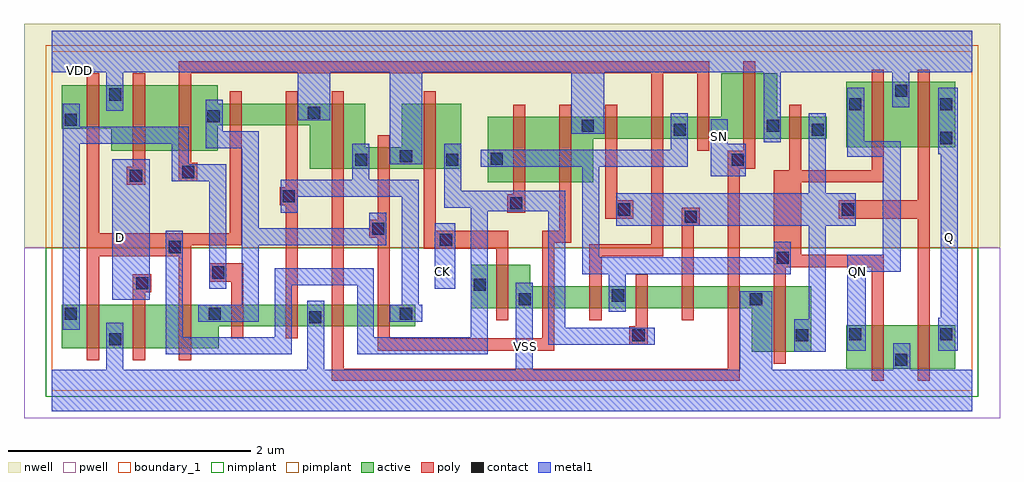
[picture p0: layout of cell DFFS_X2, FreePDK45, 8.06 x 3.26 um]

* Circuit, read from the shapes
.subckt DFFS_X2 CK D Q QN SN VDD VSS
M1 VSS n1 n2 VSUBS nfet w=0.36u l=0.1u
M2 n3 D VSS VSUBS nfet w=0.36u l=0.1u
M3 n4 n1 n3 VSUBS nfet w=0.36u l=0.1u
M4 n5 n2 n4 VSUBS nfet w=0.18u l=0.1u
M5 VSS n6 n5 VSUBS nfet w=0.18u l=0.1u
M6 n7 SN VSS VSUBS nfet w=0.18u l=0.1u
M7 n6 n4 n7 VSUBS nfet w=0.18u l=0.1u
M8 VSS CK n1 VSUBS nfet w=0.36u l=0.1u
M9 n8 n4 VSS VSUBS nfet w=0.18u l=0.1u
M10 n9 n2 n8 VSUBS nfet w=0.18u l=0.1u
M11 n10 n1 n9 VSUBS nfet w=0.18u l=0.1u
M12 n11 n12 n10 VSUBS nfet w=0.18u l=0.1u
M13 VSS SN n11 VSUBS nfet w=0.18u l=0.1u
M14 n12 n9 VSS VSUBS nfet w=0.54u l=0.1u
M15 VSS n9 QN VSUBS nfet w=0.36u l=0.1u
M16 Q n12 VSS VSUBS nfet w=0.36u l=0.1u
M17 VDD n1 n2 n13 pfet w=0.36u l=0.1u
M18 n14 D VDD n13 pfet w=0.54u l=0.1u
M19 n4 n2 n14 n13 pfet w=0.54u l=0.1u
M20 n15 n1 n4 n13 pfet w=0.18u l=0.1u
M21 VDD n6 n15 n13 pfet w=0.18u l=0.1u
M22 n6 SN VDD n13 pfet w=0.54u l=0.1u
M23 VDD n4 n6 n13 pfet w=0.18u l=0.1u
M24 n1 CK VDD n13 pfet w=0.54u l=0.1u
M25 n16 n1 n9 n13 pfet w=0.54u l=0.1u
M26 VDD n4 n16 n13 pfet w=0.54u l=0.1u
M27 n17 n12 VDD n13 pfet w=0.18u l=0.1u
M28 n9 n2 n17 n13 pfet w=0.18u l=0.1u
M29 n18 n2 n9 n13 pfet w=0.18u l=0.1u
M30 VDD SN n18 n13 pfet w=0.54u l=0.1u
M31 n12 n9 VDD n13 pfet w=0.18u l=0.1u
M32 VDD n9 QN n13 pfet w=0.54u l=0.1u
M33 Q n12 VDD n13 pfet w=0.54u l=0.1u
.ends

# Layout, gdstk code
import gdstk
lib = gdstk.Library(unit=1e-6, precision=1e-09)
def R(c, l, rs):  # rectangles x0, y0, x1, y1
    for r in rs: c.add(gdstk.rectangle(r[:2], r[2:], *l))
def P(c, l, *ps):  # polygons
    for p in ps: c.add(gdstk.Polygon(p, *l))
active = (1, 0)
pwell = (2, 0)
nwell = (3, 0)
nimplant = (4, 0)
pimplant = (5, 0)
poly = (9, 0)
contact = (10, 0)
metal1 = (11, 0)
boundary_1 = (235, 1)

dffs_x2 = lib.new_cell('DFFS_X2')
R(dffs_x2, active, [(6.56,0.18,7.46,0.54), (6.56,2.01,7.46,2.55)])
P(dffs_x2, active, [(3.6,1.72),(4.47,1.72),(4.47,2.08),(6.4,2.08),(6.4,2.26),(5.99,2.26),(5.99,2.62),(5.53,2.62),(5.53,2.26),(3.6,2.26)],
  [(3.46,0.68),(5.78,0.68),(5.78,0.32),(6.27,0.32),(6.27,0.86),(3.95,0.86),(3.95,1.04),(3.46,1.04)],
  [(0.08,2.16),(0.49,2.16),(0.49,1.98),(1.37,1.98),(1.37,2.19),(2.13,2.19),(2.13,1.83),(3.38,1.83),(3.38,2.37),(2.89,2.37),(2.89,2.01),(2.59,2.01),(2.59,2.37),(1.37,2.37),(1.37,2.52),(0.08,2.52)],
  [(0.08,0.35),(1.38,0.35),(1.38,0.53),(3,0.53),(3,0.71),(0.08,0.71)])
R(dffs_x2, pwell, [(-0.23,-0.23,7.83,1.18)])
R(dffs_x2, nwell, [(-0.23,1.18,7.83,3.03)])
R(dffs_x2, nimplant, [(-0.05,-0.05,7.65,1.18)])
R(dffs_x2, pimplant, [(-0.05,1.18,7.65,2.85)])
P(dffs_x2, poly, [(6.5,1.42),(7.15,1.42),(7.15,0.08),(7.25,0.08),(7.25,2.65),(7.15,2.65),(7.15,1.57),(6.5,1.57)],
  [(6.19,1.72),(6.87,1.72),(6.87,2.65),(6.77,2.65),(6.77,1.82),(6.19,1.82),(6.19,2.36),(6.09,2.36),(6.09,1.82),(5.96,1.82),(5.96,0.22),(6.06,0.22),(6.06,1.02),(6.77,1.02),(6.77,0.08),(6.87,0.08),(6.87,1.12),(6.19,1.12)],
  [(2.31,0.08),(5.68,0.08),(5.68,1.83),(5.81,1.83),(5.81,2.72),(5.71,2.72),(5.71,1.98),(5.58,1.98),(5.58,0.18),(2.41,0.18),(2.41,2.47),(2.31,2.47)],
  [(1.15,2.62),(4.95,2.62),(4.95,1.21),(4.44,1.21),(4.44,0.58),(4.54,0.58),(4.54,1.11),(5.05,1.11),(5.05,2.62),(5.33,2.62),(5.33,1.98),(5.43,1.98),(5.43,2.72),(1.05,2.72),(1.05,1.73),(1.2,1.73),(1.2,1.88),(1.15,1.88)],
  [(5.2,0.58),(5.3,0.58),(5.3,1.36),(5.35,1.36),(5.35,1.51),(5.2,1.51)],
  [(4.77,0.38),(4.92,0.38),(4.92,0.96),(4.82,0.96),(4.82,0.53),(4.77,0.53)],
  [(4.57,1.42),(4.8,1.42),(4.8,1.57),(4.67,1.57),(4.67,2.36),(4.57,2.36)],
  [(2.62,1.26),(2.69,1.26),(2.69,0.33),(4.15,0.33),(4.15,1.22),(4.29,1.22),(4.29,2.36),(4.19,2.36),(4.19,1.32),(4.05,1.32),(4.05,0.43),(2.79,0.43),(2.79,2.11),(2.69,2.11),(2.69,1.41),(2.62,1.41)],
  [(3.76,1.47),(3.91,1.47),(3.91,2.36),(3.81,2.36),(3.81,1.62),(3.76,1.62)],
  [(3.07,1.17),(3.67,1.17),(3.67,0.58),(3.77,0.58),(3.77,1.32),(3.17,1.32),(3.17,2.47),(3.07,2.47)],
  [(1.88,1.53),(1.93,1.53),(1.93,0.43),(2.03,0.43),(2.03,2.47),(1.93,2.47),(1.93,1.68),(1.88,1.68)],
  [(1.3,0.9),(1.48,0.9),(1.48,0.43),(1.58,0.43),(1.58,1.05),(1.3,1.05)],
  [(0.29,0.25),(0.39,0.25),(0.39,1.11),(1.05,1.11),(1.05,0.25),(1.15,0.25),(1.15,1.2),(1.57,1.2),(1.57,2.47),(1.47,2.47),(1.47,1.3),(0.39,1.3),(0.39,2.62),(0.29,2.62)],
  [(0.67,0.25),(0.77,0.25),(0.77,0.81),(0.82,0.81),(0.82,0.96),(0.67,0.96)],
  [(0.62,1.7),(0.77,1.7),(0.77,2.62),(0.67,2.62),(0.67,1.85),(0.62,1.85)])
R(dffs_x2, contact, [(6.965,0.205,7.065,0.305), (0.475,0.375,0.575,0.475), (4.795,0.405,4.895,0.505), (6.145,0.405,6.245,0.505), (6.585,0.415,6.685,0.515), (7.335,0.415,7.435,0.515), (2.125,0.555,2.225,0.655), (0.105,0.585,0.205,0.685), (1.295,0.585,1.395,0.685), (2.875,0.585,2.975,0.685), (3.855,0.705,3.955,0.805), (5.765,0.705,5.865,0.805), (4.625,0.735,4.725,0.835), (3.485,0.825,3.585,0.925), (0.695,0.835,0.795,0.935), (1.325,0.925,1.425,1.025), (5.985,1.045,6.085,1.145), (0.965,1.135,1.065,1.235), (3.205,1.195,3.305,1.295), (2.645,1.285,2.745,1.385), (5.225,1.385,5.325,1.485), (4.675,1.445,4.775,1.545), (6.525,1.445,6.625,1.545), (3.785,1.495,3.885,1.595), (1.905,1.555,2.005,1.655), (0.645,1.725,0.745,1.825), (1.075,1.755,1.175,1.855), (2.505,1.855,2.605,1.955), (3.255,1.855,3.355,1.955), (5.615,1.855,5.715,1.955), (3.625,1.865,3.725,1.965), (2.875,1.885,2.975,1.985), (7.335,2.035,7.435,2.135), (5.135,2.105,5.235,2.205), (6.275,2.105,6.375,2.205), (4.375,2.135,4.475,2.235), (5.905,2.135,6.005,2.235), (0.105,2.185,0.205,2.285), (1.285,2.215,1.385,2.315), (2.115,2.245,2.215,2.345), (6.585,2.315,6.685,2.415), (7.335,2.315,7.435,2.415), (0.475,2.395,0.575,2.495), (6.965,2.425,7.065,2.525)])
R(dffs_x2, metal1, [(0.5,0.75,0.81,1.91), (0.5,0.75,0.81,1.91), (3.16,0.84,3.33,1.38), (3.16,0.84,3.33,1.38)])
P(dffs_x2, metal1, [(0,-0.17),(7.6,-0.17),(7.6,0.17),(7.09,0.17),(7.09,0.39),(6.95,0.39),(6.95,0.17),(5.95,0.17),(5.95,0.82),(5.68,0.82),(5.68,0.17),(3.97,0.17),(3.97,0.89),(3.83,0.89),(3.83,0.17),(2.25,0.17),(2.25,0.74),(2.11,0.74),(2.11,0.17),(0.59,0.17),(0.59,0.56),(0.45,0.56),(0.45,0.17),(0,0.17)],
  [(7.32,1.95),(7.34,1.95),(7.34,0.6),(7.32,0.6),(7.32,0.33),(7.48,0.33),(7.48,2.5),(7.32,2.5)],
  [(0,2.63),(0.45,2.63),(0.45,2.31),(0.59,2.31),(0.59,2.63),(2.03,2.63),(2.03,2.23),(2.3,2.23),(2.3,2.63),(2.79,2.63),(2.79,1.87),(3.06,1.87),(3.06,2.63),(4.29,2.63),(4.29,2.12),(4.56,2.12),(4.56,2.63),(5.88,2.63),(5.88,2.05),(6.02,2.05),(6.02,2.63),(6.94,2.63),(6.94,2.34),(7.08,2.34),(7.08,2.63),(7.6,2.63),(7.6,2.97),(0,2.97)],
  [(5.44,1.77),(5.73,1.77),(5.73,2.04),(5.58,2.04),(5.58,2.24),(5.44,2.24)],
  [(6.57,1.93),(6.86,1.93),(6.86,1.12),(6.57,1.12),(6.57,0.33),(6.72,0.33),(6.72,0.98),(7.01,0.98),(7.01,2.06),(6.71,2.06),(6.71,2.5),(6.57,2.5)],
  [(0,2.63),(0.45,2.63),(0.45,2.31),(0.59,2.31),(0.59,2.63),(2.03,2.63),(2.03,2.23),(2.3,2.23),(2.3,2.63),(2.79,2.63),(2.79,1.87),(3.06,1.87),(3.06,2.63),(4.29,2.63),(4.29,2.12),(4.56,2.12),(4.56,2.63),(5.88,2.63),(5.88,2.05),(6.02,2.05),(6.02,2.63),(6.94,2.63),(6.94,2.34),(7.08,2.34),(7.08,2.63),(7.6,2.63),(7.6,2.97),(0,2.97)],
  [(0,-0.17),(7.6,-0.17),(7.6,0.17),(7.09,0.17),(7.09,0.39),(6.95,0.39),(6.95,0.17),(5.95,0.17),(5.95,0.82),(5.68,0.82),(5.68,0.17),(3.97,0.17),(3.97,0.89),(3.83,0.89),(3.83,0.17),(2.25,0.17),(2.25,0.74),(2.11,0.74),(2.11,0.17),(0.59,0.17),(0.59,0.56),(0.45,0.56),(0.45,0.17),(0,0.17)],
  [(7.32,1.95),(7.34,1.95),(7.34,0.6),(7.32,0.6),(7.32,0.33),(7.48,0.33),(7.48,2.5),(7.32,2.5)],
  [(6.57,1.93),(6.86,1.93),(6.86,1.12),(6.57,1.12),(6.57,0.33),(6.72,0.33),(6.72,0.98),(7.01,0.98),(7.01,2.06),(6.71,2.06),(6.71,2.5),(6.57,2.5)],
  [(4.66,1.36),(6.25,1.36),(6.25,0.59),(6.13,0.59),(6.13,0.32),(6.39,0.32),(6.39,1.36),(6.64,1.36),(6.64,1.63),(6.39,1.63),(6.39,2.29),(6.25,2.29),(6.25,1.63),(4.66,1.63)],
  [(3.54,1.85),(4.38,1.85),(4.38,0.96),(4.6,0.96),(4.6,0.65),(4.74,0.65),(4.74,0.96),(6.1,0.96),(6.1,1.23),(5.96,1.23),(5.96,1.1),(4.52,1.1),(4.52,1.85),(5.25,1.85),(5.25,2.29),(5.11,2.29),(5.11,1.99),(3.54,1.99)],
  [(5.44,1.77),(5.73,1.77),(5.73,2.04),(5.58,2.04),(5.58,2.24),(5.44,2.24)],
  [(3.24,1.51),(3.46,1.51),(3.46,0.44),(2.66,0.44),(2.66,1.01),(1.84,1.01),(1.84,0.44),(1.08,0.44),(1.08,1.32),(0.94,1.32),(0.94,0.3),(1.98,0.3),(1.98,0.87),(2.52,0.87),(2.52,0.3),(3.6,0.3),(3.6,1.48),(4.1,1.48),(4.1,0.38),(4.98,0.38),(4.98,0.52),(4.24,0.52),(4.24,1.65),(3.38,1.65),(3.38,2.04),(3.24,2.04)],
  [(1.89,1.47),(2.03,1.47),(2.03,1.6),(2.89,1.6),(2.89,0.71),(2.79,0.71),(2.79,0.57),(3.06,0.57),(3.06,0.71),(3.03,0.71),(3.03,1.74),(2.62,1.74),(2.62,2.04),(2.48,2.04),(2.48,1.74),(1.89,1.74)],
  [(1.27,2),(1.57,2),(1.57,0.71),(1.21,0.71),(1.21,0.57),(1.71,0.57),(1.71,1.2),(2.76,1.2),(2.76,1.47),(2.62,1.47),(2.62,1.34),(1.71,1.34),(1.71,2.14),(1.41,2.14),(1.41,2.4),(1.27,2.4)],
  [(0.09,0.5),(0.23,0.5),(0.23,2.04),(0.99,2.04),(0.99,1.73),(1.3,1.73),(1.3,0.84),(1.44,0.84),(1.44,1.87),(1.13,1.87),(1.13,2.18),(0.23,2.18),(0.23,2.37),(0.09,2.37)])
R(dffs_x2, boundary_1, [(0,0,7.6,2.8)])
dffs_x2.add(gdstk.Label('VSS', (3.91,0.36), layer=11, texttype=0))
dffs_x2.add(gdstk.Label('VDD', (0.225,2.64), layer=11, texttype=0))
dffs_x2.add(gdstk.Label('SN', (5.51,2.1), layer=11, texttype=0))
dffs_x2.add(gdstk.Label('QN', (6.65,0.98), layer=11, texttype=0))
dffs_x2.add(gdstk.Label('Q', (7.41,1.26), layer=11, texttype=0))
dffs_x2.add(gdstk.Label('D', (0.57,1.26), layer=11, texttype=0))
dffs_x2.add(gdstk.Label('CK', (3.23,0.98), layer=11, texttype=0))

lib.write_gds('DFFS_X2.gds')
